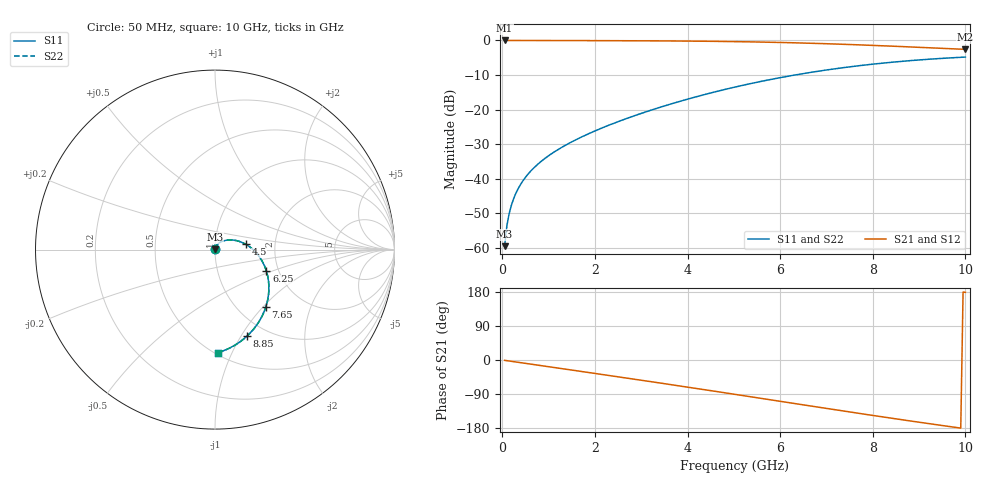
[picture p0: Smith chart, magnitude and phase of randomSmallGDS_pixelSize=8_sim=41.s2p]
! freq	dB(S11)	phase(S11)	dB(S12)	phase(S12)
!  dB(S21)	phase(S21)	dB(S22)	phase(S22)
!S-par simulation data
#  GHz  S  DB  R 50
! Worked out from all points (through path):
!   200 points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, 50 MHz to 10 GHz, reference 50 ohm
!   highest |S21| = 0.00 dB at 50 MHz (marker M1); lowest = -2.6 dB at 10 GHz (marker M2)
!   group delay of S21, straight-line fit = 51 ps
!   lowest |S11| = -59.6 dB at 50 MHz (marker M3), VSWR 1.00, Z = 50 + j0.105 ohm
!   |S11| at or under -10 dB: start of sweep to 6.319 GHz
!   |S22| runs from -59.6 to -4.8 dB; largest |S21 - S12| = 0
!   S11 on the Smith chart (normalised r, x): 50 MHz: 1.00, +0.00; 4.5 GHz: 1.41, +0.09; 6.25 GHz: 1.73, -0.46; 7.65 GHz: 1.33, -1.04; 8.85 GHz: 0.82, -1.06; 10 GHz: 0.52, -0.88
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0.05  -59.56 86.7  -0.00 -0.9  -0.00 -0.9  -59.56 86.7
0.1  -53.55 86.7  -0.00 -1.8  -0.00 -1.8  -53.55 86.7
0.15  -50.04 86.1  -0.00 -2.7  -0.00 -2.7  -50.04 86.1
0.2  -47.55 85.2  -0.00 -3.6  -0.00 -3.6  -47.55 85.3
0.3  -44.05 83.5  -0.01 -5.3  -0.01 -5.3  -44.05 83.5
0.45  -40.54 81.0  -0.01 -8.0  -0.01 -8.0  -40.54 81.0
0.65  -37.31 77.7  -0.02 -11.5  -0.02 -11.5  -37.31 77.7
0.95  -33.86 72.8  -0.02 -16.8  -0.02 -16.8  -33.86 72.8
1.3  -30.82 67.0  -0.03 -23.0  -0.03 -23.0  -30.82 67.0
1.75  -27.71 59.4  -0.04 -31.0  -0.04 -31.0  -27.71 59.4
2.55  -23.26 45.3  -0.07 -45.2  -0.07 -45.2  -23.26 45.4
3.4  -19.38 30.0  -0.12 -60.6  -0.12 -60.6  -19.38 30.1
3.95  -17.18 20.0  -0.17 -70.7  -0.17 -70.7  -17.18 20.0
4.5  -15.20 9.8  -0.24 -80.8  -0.24 -80.8  -15.20 9.9
5.05  -13.42 -0.4  -0.34 -91.1  -0.34 -91.1  -13.42 -0.3
5.65  -11.68 -11.5  -0.48 -102.4  -0.48 -102.4  -11.68 -11.5
6.25  -10.16 -22.7  -0.66 -113.7  -0.66 -113.7  -10.16 -22.6
6.7  -9.16 -31.1  -0.82 -122.2  -0.82 -122.2  -9.16 -31.0
7.65  -7.40 -48.4  -1.25 -139.9  -1.25 -139.9  -7.40 -48.4
8.35  -6.39 -60.9  -1.61 -152.6  -1.61 -152.6  -6.38 -60.8
8.85  -5.80 -69.5  -1.90 -161.6  -1.90 -161.6  -5.80 -69.4
10  -4.81 -88.5  -2.58 178.6  -2.58 178.6  -4.81 -88.4
